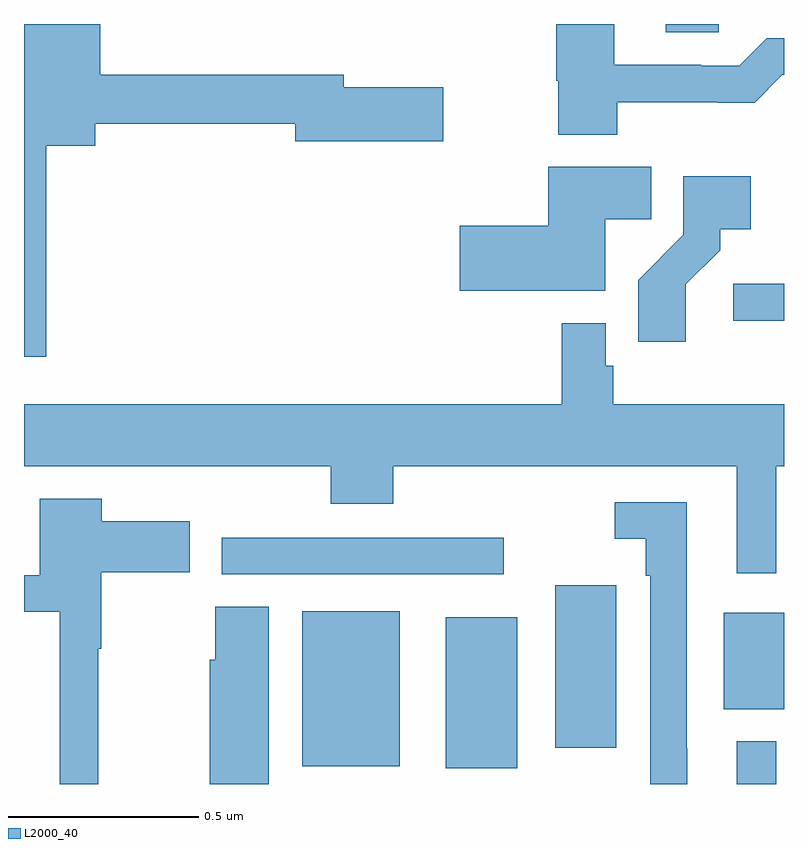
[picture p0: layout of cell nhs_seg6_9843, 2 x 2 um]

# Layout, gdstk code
import gdstk
lib = gdstk.Library(unit=1e-6, precision=1e-09)
def R(c, l, rs):  # rectangles x0, y0, x1, y1
    for r in rs: c.add(gdstk.rectangle(r[:2], r[2:], *l))
def P(c, l, *ps):  # polygons
    for p in ps: c.add(gdstk.Polygon(p, *l))
L2000_40 = (2000, 40)

nhs_seg6_9843 = lib.new_cell('nhs_seg6_9843')
R(nhs_seg6_9843, L2000_40, [(240.875,946.5,240.979,946.612), (240.11,946.541,240.298,946.939), (239.732,946.547,239.989,946.954), (240.398,946.596,240.559,947.023), (240.842,946.697,241,946.951), (239.521,947.052,240.262,947.148), (240.867,947.719,241,947.817), (240.689,948.478,240.828,948.5)])
P(nhs_seg6_9843, L2000_40, [(239.059,948.179),(239.188,948.179),(239.188,948.238),(239.714,948.238),(239.714,948.191),(240.103,948.191),(240.103,948.333),(239.842,948.333),(239.842,948.367),(239.201,948.367),(239.201,948.5),(239,948.5),(239,947.625),(239.059,947.625)],
  [(240.561,948.294),(240.824,948.294),(240.824,948.293),(240.923,948.293),(240.996,948.366),(241,948.366),(241,948.463),(240.955,948.463),(240.882,948.39),(240.782,948.39),(240.782,948.393),(240.553,948.393),(240.553,948.499),(240.401,948.499),(240.401,948.351),(240.406,948.351),(240.406,948.209),(240.561,948.209)],
  [(240.529,947.986),(240.65,947.986),(240.65,948.124),(240.38,948.124),(240.38,947.969),(240.147,947.969),(240.147,947.798),(240.529,947.798)],
  [(240.742,947.815),(240.832,947.905),(240.832,947.96),(240.913,947.96),(240.913,948.1),(240.735,948.1),(240.735,947.945),(240.616,947.826),(240.616,947.664),(240.742,947.664)],
  [(240.979,947.336),(241,947.336),(241,947.5),(240.551,947.5),(240.551,947.601),(240.531,947.601),(240.531,947.713),(240.415,947.713),(240.415,947.5),(239,947.5),(239,947.336),(239.807,947.336),(239.807,947.237),(239.972,947.237),(239.972,947.336),(240.875,947.336),(240.875,947.055),(240.979,947.055)],
  [(239.195,946.856),(239.203,946.856),(239.203,947.057),(239.436,947.057),(239.436,947.191),(239.204,947.191),(239.204,947.251),(239.042,947.251),(239.042,947.049),(239,947.049),(239,946.953),(239.094,946.953),(239.094,946.5),(239.195,946.5)],
  [(240.745,946.594),(240.744,946.594),(240.744,947.241),(240.555,947.241),(240.555,947.145),(240.636,947.145),(240.636,947.048),(240.648,947.048),(240.648,946.5),(240.745,946.5)],
  [(239.644,946.967),(239.503,946.967),(239.503,946.827),(239.489,946.827),(239.489,946.5),(239.644,946.5)])

lib.write_gds('nhs_seg6_9843.gds')
